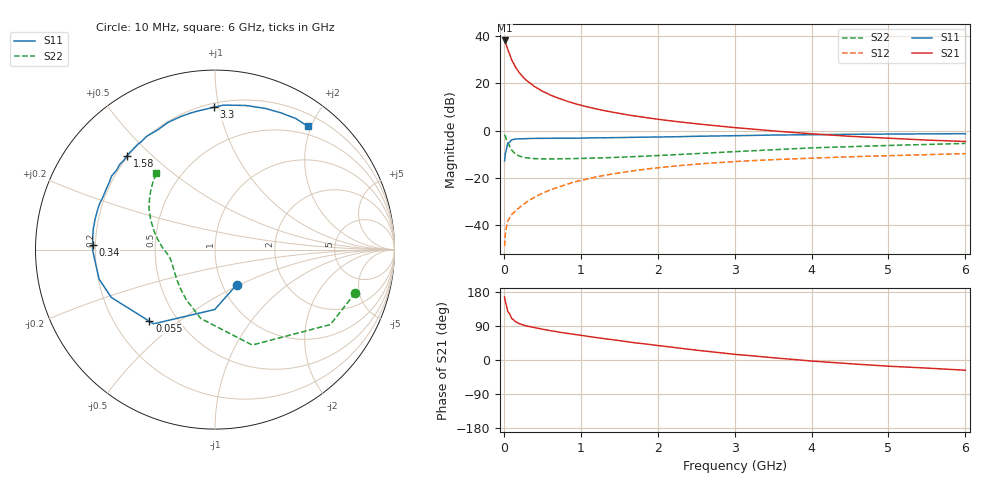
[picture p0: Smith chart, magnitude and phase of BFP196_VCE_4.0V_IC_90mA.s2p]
! Infineon Technologies  Discrete & RF Semiconductors
! BFP196
! VCE = 4.0 V,  IC =  90mA
! Common Emitter S-Parameters:  Jan 2016
# GHz  S  MA  R  50
!  f  S11  S21  S12  S22
! GHz  MAG  ANG  MAG  ANG  MAG  ANG  MAG  ANG
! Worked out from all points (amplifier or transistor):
!   210 points, 10 MHz to 6 GHz, reference 50 ohm
!   highest |S21| = 38.1 dB at 10 MHz (marker M1)
!   |S21| within 3 dB of that: start of sweep to 42.41 MHz
!   unconditionally stable (mu >= 1): 366.4 MHz to 4.841 GHz
!   at 185 MHz: K = 0.83, MSG = 29.1 dB, |S12| = -33.0 dB
!   at 1.52 GHz: K = 1.09, MAG = 10.7 dB, |S12| = -17.8 dB
!   at 6 GHz: K = 0.98, MSG = 2.6 dB, |S12| = -9.7 dB
!   S11 on the Smith chart (normalised r, x): 10 MHz: 1.16, -0.48; 55 MHz: 0.35, -0.39; 340 MHz: 0.19, +0.02; 1.58 GHz: 0.19, +0.42; 3.3 GHz: 0.23, +0.97; 6 GHz: 0.37, +1.95
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0.01  0.2304 -58.6  80.59 166.4  0.0036 76.3  0.8175 -17.2
0.02  0.3337 -90.2  73.84 153.4  0.0065 69.7  0.7667 -33.0
0.05  0.5369 -129.6  52.93 128.4  0.012 54.0  0.5707 -68.7
0.055  0.5413 -132.5  50.65 127.3  0.0125 53.7  0.547 -70.9
0.1  0.6361 -155.2  31.66 109.8  0.0167 51.7  0.3923 -101.6
0.15  0.6661 -165.6  22.02 101.1  0.02 53.0  0.3219 -119.8
0.2  0.6686 -171.9  16.81 95.8  0.0234 57.2  0.2905 -131.4
0.24  0.6736 -175.9  14.11 93.0  0.0264 59.2  0.2762 -138.3
0.3  0.6824 180.0  11.28 89.5  0.0311 62.1  0.265 -145.5
0.34  0.6825 177.7  10.17 88.1  0.0343 63.2  0.2606 -148.7
0.4  0.6846 174.3  8.519 85.2  0.039 64.6  0.2556 -153.7
0.5  0.6878 170.4  6.821 81.3  0.0472 65.7  0.2523 -159.0
0.6  0.6892 165.7  5.691 77.5  0.0553 66.0  0.2512 -162.5
0.8  0.6919 158.6  4.277 71.0  0.0719 64.9  0.2539 -167.3
1.02  0.6942 150.3  3.376 64.5  0.0901 62.8  0.2579 -171.0
1.58  0.7169 133.1  2.191 48.9  0.1338 55.2  0.2775 -178.0
2.02  0.737 120.7  1.722 37.8  0.1651 48.3  0.2979 176.2
3.1  0.7831 94.3  1.121 13.3  0.2263 31.9  0.3657 160.7
3.3  0.793 90.4  1.05 9.7  0.2347 29.0  0.3799 157.8
4.1  0.8225 76.5  0.835 -4.1  0.2652 19.0  0.4363 147.3
5.1  0.8475 63.1  0.679 -17.3  0.2984 7.7  0.4899 136.6
6  0.8601 53.0  0.59 -27.0  0.3256 -2.2  0.5359 127.6
